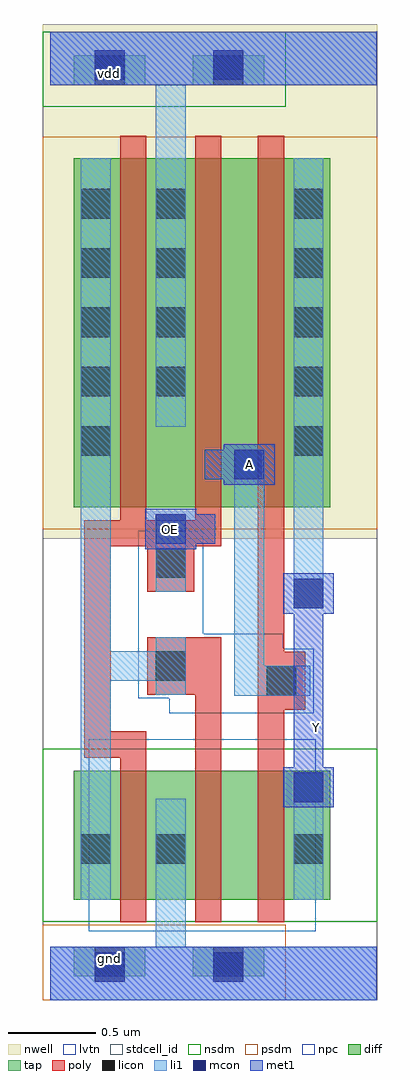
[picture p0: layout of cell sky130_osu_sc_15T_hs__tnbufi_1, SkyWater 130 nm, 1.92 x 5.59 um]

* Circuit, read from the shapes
.subckt sky130_osu_sc_15T_hs__tnbufi_1 A OE Y gnd vdd
XM1 gnd OE n1 gnd sky130_fd_pr__nfet_01v8_lvt w=0.74 l=0.15
XM2 n2 n1 gnd gnd sky130_fd_pr__nfet_01v8_lvt w=0.74 l=0.15
XM3 Y A n2 gnd sky130_fd_pr__nfet_01v8_lvt w=0.74 l=0.15
XM4 vdd OE n1 vdd sky130_fd_pr__pfet_01v8 w=2 l=0.15
XM5 n3 OE vdd vdd sky130_fd_pr__pfet_01v8 w=2 l=0.15
XM6 Y A n3 vdd sky130_fd_pr__pfet_01v8 w=2 l=0.15
.ends

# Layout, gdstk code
import gdstk
lib = gdstk.Library(unit=1e-6, precision=1e-09)
def R(c, l, rs):  # rectangles x0, y0, x1, y1
    for r in rs: c.add(gdstk.rectangle(r[:2], r[2:], *l))
def A(c, l, x, y, w, h, nx, ny, dx, dy):  # array of equal rectangles
    R(c, l, [(x+i*dx, y+j*dy, x+i*dx+w, y+j*dy+h) for i in range(nx) for j in range(ny)])
nwell = (64, 20)
diff = (65, 20)
tap = (65, 44)
poly = (66, 20)
licon = (66, 44)
li1 = (67, 20)
mcon = (67, 44)
met1 = (68, 20)
stdcell_id = (81, 4)
nsdm = (93, 44)
psdm = (94, 20)
npc = (95, 20)
lvtn = (125, 44)

sky130_osu_sc_15t_hs__tn = lib.new_cell('sky130_osu_sc_15T_hs__tnbufi_1')
R(sky130_osu_sc_15t_hs__tn, nwell, [(-0.045,2.645,1.875,5.595)])
R(sky130_osu_sc_15t_hs__tn, diff, [(0.135,0.575,1.605,1.315), (0.135,2.825,1.605,4.825)])
R(sky130_osu_sc_15t_hs__tn, tap, [(0.135,0.135,0.545,0.305), (0.815,0.135,1.225,0.305), (0.135,5.245,0.545,5.415), (0.815,5.245,1.225,5.415)])
R(sky130_osu_sc_15t_hs__tn, poly, [(0.4,0.445,0.55,1.39), (0.83,0.445,0.98,1.75), (1.19,0.445,1.34,1.665), (0.195,1.39,0.55,1.54), (0.195,1.54,0.345,2.6), (1.19,1.665,1.46,1.995), (0.555,1.75,0.98,2.08), (1.19,1.995,1.34,4.955), (0.555,2.34,0.825,2.6), (0.195,2.6,0.98,2.75), (0.4,2.75,0.55,4.955), (0.83,2.75,0.98,4.955)])
A(sky130_osu_sc_15t_hs__tn, licon, 0.175, 3.12, 0.17, 0.17, 1, 5, 0, 0.34)
A(sky130_osu_sc_15t_hs__tn, licon, 1.395, 3.12, 0.17, 0.17, 1, 5, 0, 0.34)
A(sky130_osu_sc_15t_hs__tn, licon, 0.605, 3.46, 0.17, 0.17, 1, 4, 0, 0.34)
R(sky130_osu_sc_15t_hs__tn, licon, [(0.255,0.135,0.425,0.305), (0.935,0.135,1.105,0.305), (0.175,0.78,0.345,0.95), (0.605,0.78,0.775,0.95), (1.395,0.78,1.565,0.95), (1.24,1.745,1.41,1.915), (0.605,1.83,0.775,2), (0.605,2.42,0.775,2.59), (0.255,5.245,0.425,5.415), (0.935,5.245,1.105,5.415)])
R(sky130_osu_sc_15t_hs__tn, li1, [(0,0,1.87,0.305), (0.605,0.305,0.775,1.155), (0.175,0.575,0.345,1.83), (1.395,0.575,1.565,1.305), (1.055,1.745,1.49,1.915), (0.605,1.75,0.775,1.83), (0.175,1.83,0.775,2), (1.055,1.915,1.225,3.155), (0.175,2,0.345,4.825), (0.605,2,0.775,2.08), (1.395,2.245,1.565,4.825), (0.605,2.34,0.775,2.785), (0.605,3.285,0.775,5.245), (0,5.245,1.87,5.55)])
R(sky130_osu_sc_15t_hs__tn, mcon, [(0.255,0.105,0.425,0.275), (0.935,0.105,1.105,0.275), (1.395,1.135,1.565,1.305), (1.395,2.245,1.565,2.415), (0.605,2.615,0.775,2.785), (1.055,2.985,1.225,3.155), (0.255,5.275,0.425,5.445), (0.935,5.275,1.105,5.445)])
R(sky130_osu_sc_15t_hs__tn, met1, [(0,0,1.87,0.305), (1.335,1.105,1.625,1.335), (1.395,1.335,1.565,2.215), (1.335,2.215,1.625,2.445), (0.545,2.585,0.835,2.615), (0.545,2.615,0.945,2.785), (0.545,2.785,0.835,2.815), (0.995,2.955,1.285,2.985), (0.885,2.985,1.285,3.155), (0.995,3.155,1.285,3.185), (0,5.245,1.87,5.55)])
R(sky130_osu_sc_15t_hs__tn, stdcell_id, [(-0.045,0,1.875,5.55)])
R(sky130_osu_sc_15t_hs__tn, nsdm, [(-0.045,0.45,1.875,1.44), (-0.045,5.12,1.35,5.55)])
R(sky130_osu_sc_15t_hs__tn, psdm, [(-0.045,0,1.35,0.43), (-0.045,2.7,1.875,4.95)])
R(sky130_osu_sc_15t_hs__tn, npc, [(0.68,1.645,1.51,1.73), (0.505,1.73,1.51,2.015), (0.505,2.015,1.335,2.1), (0.505,2.1,0.875,2.69)])
R(sky130_osu_sc_15t_hs__tn, lvtn, [(0.22,0.395,1.52,1.495)])
sky130_osu_sc_15t_hs__tn.add(gdstk.Label('gnd', (0.34,0.24), layer=68, texttype=16))
sky130_osu_sc_15t_hs__tn.add(gdstk.Label('vdd', (0.34,5.31), layer=68, texttype=16))
sky130_osu_sc_15t_hs__tn.add(gdstk.Label('Y', (1.525,1.56), layer=68, texttype=5))
sky130_osu_sc_15t_hs__tn.add(gdstk.Label('A', (1.14,3.07), layer=68, texttype=5))
sky130_osu_sc_15t_hs__tn.add(gdstk.Label('OE', (0.69,2.7), layer=68, texttype=5))

lib.write_gds('sky130_osu_sc_15T_hs__tnbufi_1.gds')
